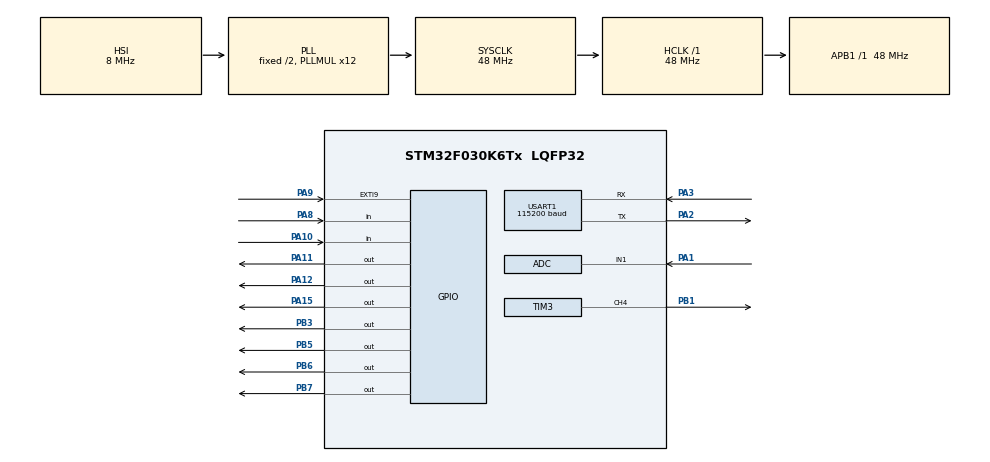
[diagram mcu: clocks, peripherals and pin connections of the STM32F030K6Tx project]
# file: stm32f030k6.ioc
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ADC.ClockPrescaler=ADC_CLOCK_SYNC_PCLK_DIV4
ADC.ContinuousConvMode=ENABLE
ADC.DMAContinuousRequests=DISABLE
ADC.DataAlign=ADC_DATAALIGN_RIGHT
ADC.DiscontinuousConvMode=DISABLE
ADC.EOCSelection=ADC_EOC_SINGLE_CONV
ADC.EnableAnalogWatchDog=false
ADC.ExternalTrigConv=ADC_SOFTWARE_START
ADC.ExternalTrigConvEdge=ADC_EXTERNALTRIGCONVEDGE_NONE
ADC.LowPowerAutoPowerOff=DISABLE
ADC.LowPowerAutoWait=DISABLE
ADC.Overrun=ADC_OVR_DATA_PRESERVED
ADC.Resolution=ADC_RESOLUTION_12B
ADC.SamplingTime=ADC_SAMPLETIME_239CYCLES_5
ADC.ScanConvMode=ADC_SCAN_DIRECTION_FORWARD
Mcu.Family=STM32F0
Mcu.Name=STM32F030K6Tx
Mcu.Package=LQFP32
NVIC.EXTI4_15_IRQn=true\:2\:0\:true\:false\:true\:true
NVIC.USART1_IRQn=true\:1\:0\:true\:false\:true\:true
PA1.Mode=IN1
PA1.Signal=ADC_IN1
PA10.Signal=GPIO_Input
PA11.GPIO_Speed=GPIO_SPEED_FREQ_HIGH
PA11.PinState=GPIO_PIN_SET
PA11.Signal=GPIO_Output
PA12.GPIO_Speed=GPIO_SPEED_FREQ_HIGH
PA12.PinState=GPIO_PIN_SET
PA12.Signal=GPIO_Output
PA13.Mode=Serial_Wire
PA13.Signal=SYS_SWDIO
PA14.Mode=Serial_Wire
PA14.Signal=SYS_SWCLK
PA15.GPIO_Speed=GPIO_SPEED_FREQ_HIGH
PA15.Signal=GPIO_Output
PA2.Mode=Asynchronous
PA2.Signal=USART1_TX
PA3.Mode=Asynchronous
PA3.Signal=USART1_RX
PA8.GPIO_PuPd=GPIO_PULLUP
PA8.Signal=GPIO_Input
PA9.GPIO_ModeDefaultEXTI=GPIO_MODE_IT_FALLING
PA9.Signal=GPXTI9
PB1.Signal=S_TIM3_CH4
PB3.GPIO_Speed=GPIO_SPEED_FREQ_HIGH
PB3.Signal=GPIO_Output
PB5.GPIO_Speed=GPIO_SPEED_FREQ_HIGH
PB5.PinState=GPIO_PIN_SET
PB5.Signal=GPIO_Output
PB6.GPIO_Speed=GPIO_SPEED_FREQ_HIGH
PB6.PinState=GPIO_PIN_SET
PB6.Signal=GPIO_Output
PB7.GPIO_Speed=GPIO_SPEED_FREQ_HIGH
PB7.PinState=GPIO_PIN_SET
PB7.Signal=GPIO_Output
PF0-OSC_IN.Mode=HSE-External-Oscillator
PF0-OSC_IN.Signal=RCC_OSC_IN
PF1-OSC_OUT.Mode=HSE-External-Oscillator
PF1-OSC_OUT.Signal=RCC_OSC_OUT
ProjectManager.HeapSize=0x200
ProjectManager.StackSize=0x400
ProjectManager.TargetToolchain=Makefile
RCC.AHBFreq_Value=48000000
RCC.APB1Freq_Value=48000000
RCC.APB1TimFreq_Value=48000000
RCC.HCLKFreq_Value=48000000
RCC.PLLMUL=RCC_PLL_MUL12
RCC.SYSCLKFreq_VALUE=48000000
RCC.SYSCLKSource=RCC_SYSCLKSOURCE_PLLCLK
SH.S_TIM3_CH4.0=TIM3_CH4,PWM Generation4 CH4
TIM3.Channel-PWM\ Generation4\ CH4=TIM_CHANNEL_4
TIM3.Period=4799
TIM3.Pulse-PWM\ Generation4\ CH4=1199
USART1.BaudRate=115200
USART1.VirtualMode-Asynchronous=VM_ASYNC
board=stm32f030k6

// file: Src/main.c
/**
  ******************************************************************************
  * File Name          : main.c
  * Description        : Main program body
  ******************************************************************************
  ** This notice applies to any and all portions of this file
  * that are not between comment pairs USER CODE BEGIN and
  * USER CODE END. Other portions of this file, whether
  * inserted by the user or by software development tools
  * are owned by their respective copyright owners.
  *
  * COPYRIGHT(c) 2018 STMicroelectronics
  *
  * Redistribution and use in source and binary forms, with or without modification,
  * are permitted provided that the following conditions are met:
  *   1. Redistributions of source code must retain the above copyright notice,
  *      this list of conditions and the following disclaimer.
  *   2. Redistributions in binary form must reproduce the above copyright notice,
  *      this list of conditions and the following disclaimer in the documentation
  *      and/or other materials provided with the distribution.
  *   3. Neither the name of STMicroelectronics nor the names of its contributors
  *      may be used to endorse or promote products derived from this software
  *      without specific prior written permission.
  *
  * THIS SOFTWARE IS PROVIDED BY THE COPYRIGHT HOLDERS AND CONTRIBUTORS "AS IS"
  * AND ANY EXPRESS OR IMPLIED WARRANTIES, INCLUDING, BUT NOT LIMITED TO, THE
  * IMPLIED WARRANTIES OF MERCHANTABILITY AND FITNESS FOR A PARTICULAR PURPOSE ARE
  * DISCLAIMED. IN NO EVENT SHALL THE COPYRIGHT HOLDER OR CONTRIBUTORS BE LIABLE
  * FOR ANY DIRECT, INDIRECT, INCIDENTAL, SPECIAL, EXEMPLARY, OR CONSEQUENTIAL
  * DAMAGES (INCLUDING, BUT NOT LIMITED TO, PROCUREMENT OF SUBSTITUTE GOODS OR
  * SERVICES; LOSS OF USE, DATA, OR PROFITS; OR BUSINESS INTERRUPTION) HOWEVER
  * CAUSED AND ON ANY THEORY OF LIABILITY, WHETHER IN CONTRACT, STRICT LIABILITY,
  * OR TORT (INCLUDING NEGLIGENCE OR OTHERWISE) ARISING IN ANY WAY OUT OF THE USE
  * OF THIS SOFTWARE, EVEN IF ADVISED OF THE POSSIBILITY OF SUCH DAMAGE.
  *
  ******************************************************************************
  */

#include "main.h"
#include "stm32f0xx_hal.h"
#include "adc.h"
#include "tim.h"
#include "usart.h"
#include "gpio.h"

/* USER CODE BEGIN Includes */
#include "iic.h"
#define NumOfTask 10

unsigned int Task_Delay[NumOfTask];
uint8_t flag = 0;
//extern uint16_t co;

/* USER CODE END Includes */

/* USER CODE BEGIN PV */
/* Private variables ---------------------------------------------------------*/

/* USER CODE END PV */

void SystemClock_Config(void);

/* USER CODE BEGIN PFP */
/* Private function prototypes -----------------------------------------------*/
extern void branches_bt(void);
extern void key_scanning(void);
extern void pwm_entry(void);
extern void adc_entry(void);
extern void adc_pid(void);
extern void at24c02_adc_write(void);
extern void at24c02_adc_read(void);
/* USER CODE END PFP */

/* USER CODE BEGIN 0 */
void Task_main(void)
{
	if (Task_Delay[0] == 0)
	{
		branches_bt();
		Task_Delay[0] = 1;
	}

	if (Task_Delay[1] == 0)
	{
		key_scanning();
		Task_Delay[1] = 10;
	}

	if (Task_Delay[2] == 0)
	{
		adc_pid();
		Task_Delay[2] = 20;
	}

	if (Task_Delay[3] == 0)
	{
		at24c02_adc_write();
		Task_Delay[3] = 300;
	}

	if (Task_Delay[4] == 0)
	{
		at24c02_adc_read();
		Task_Delay[4] = 500;
	}
	if (Task_Delay[5] == 0)
	{
		adc_entry();
		Task_Delay[5] = 800;
	}
}

/* USER CODE END 0 */

int main(void)
{

  /* MCU Configuration----------------------------------------------------------*/

  /* Reset of all peripherals, Initializes the Flash interface and the Systick. */
  HAL_Init();

  /* Configure the system clock */
  SystemClock_Config();

  /* Initialize all configured peripherals */
  MX_GPIO_Init();
  MX_USART1_UART_Init();
  MX_ADC_Init();
  MX_TIM3_Init();

  /* USER CODE BEGIN 2 */
  flag = EEPROM_CheckOk();
  HAL_TIM_Base_Start(&htim3);
  HAL_ADC_Start(&hadc);
  HAL_TIM_PWM_Start(&htim3, TIM_CHANNEL_4);
  __HAL_TIM_SET_COMPARE(&htim3, TIM_CHANNEL_4, 1000);
  /* USER CODE END 2 */

  /* Infinite loop */
  /* USER CODE BEGIN WHILE */
  while (1)
  {

	Task_main();
  /* USER CODE END WHILE */

  }

}

/** System Clock Configuration
*/
void SystemClock_Config(void)
{

  RCC_OscInitTypeDef RCC_OscInitStruct;
  RCC_ClkInitTypeDef RCC_ClkInitStruct;
  RCC_PeriphCLKInitTypeDef PeriphClkInit;

    /**Initializes the CPU, AHB and APB busses clocks
    */
  RCC_OscInitStruct.OscillatorType = RCC_OSCILLATORTYPE_HSI;
  RCC_OscInitStruct.HSIState = RCC_HSI_ON;
  RCC_OscInitStruct.HSICalibrationValue = 16;
  RCC_OscInitStruct.PLL.PLLState = RCC_PLL_ON;
  RCC_OscInitStruct.PLL.PLLSource = RCC_PLLSOURCE_HSI;
  RCC_OscInitStruct.PLL.PLLMUL = RCC_PLL_MUL12;
  RCC_OscInitStruct.PLL.PREDIV = RCC_PREDIV_DIV1;
  if (HAL_RCC_OscConfig(&RCC_OscInitStruct) != HAL_OK)
  {
    _Error_Handler(__FILE__, __LINE__);
  }

    /**Initializes the CPU, AHB and APB busses clocks
    */
  RCC_ClkInitStruct.ClockType = RCC_CLOCKTYPE_HCLK|RCC_CLOCKTYPE_SYSCLK
                              |RCC_CLOCKTYPE_PCLK1;
  RCC_ClkInitStruct.SYSCLKSource = RCC_SYSCLKSOURCE_PLLCLK;
  RCC_ClkInitStruct.AHBCLKDivider = RCC_SYSCLK_DIV1;
  RCC_ClkInitStruct.APB1CLKDivider = RCC_HCLK_DIV1;

  if (HAL_RCC_ClockConfig(&RCC_ClkInitStruct, FLASH_LATENCY_1) != HAL_OK)
  {
    _Error_Handler(__FILE__, __LINE__);
  }

  PeriphClkInit.PeriphClockSelection = RCC_PERIPHCLK_USART1;
  PeriphClkInit.Usart1ClockSelection = RCC_USART1CLKSOURCE_PCLK1;
  if (HAL_RCCEx_PeriphCLKConfig(&PeriphClkInit) != HAL_OK)
  {
    _Error_Handler(__FILE__, __LINE__);
  }

    /**Configure the Systick interrupt time
    */
  HAL_SYSTICK_Config(HAL_RCC_GetHCLKFreq()/1000);

    /**Configure the Systick
    */
  HAL_SYSTICK_CLKSourceConfig(SYSTICK_CLKSOURCE_HCLK);

  /* SysTick_IRQn interrupt configuration */
  HAL_NVIC_SetPriority(SysTick_IRQn, 0, 0);
}

/* USER CODE BEGIN 4 */
/**
  * 函数功能: 实现任务分配时间.
  * 输入参数: 无
  * 返 回 值: 无
  * 说    明: 1ms中断一次
  */
void HAL_SYSTICK_Callback(void)
{
  unsigned char i;

	for (i = 0; i < NumOfTask; i++)
	{
		if (Task_Delay[i] != 0)
		{
			Task_Delay[i]--;
		}
	}
}
/* USER CODE END 4 */

void _Error_Handler(char * file, int line)
{
  while(1)
  {
  }
}

/************************ (C) COPYRIGHT STMicroelectronics *****END OF FILE****/
